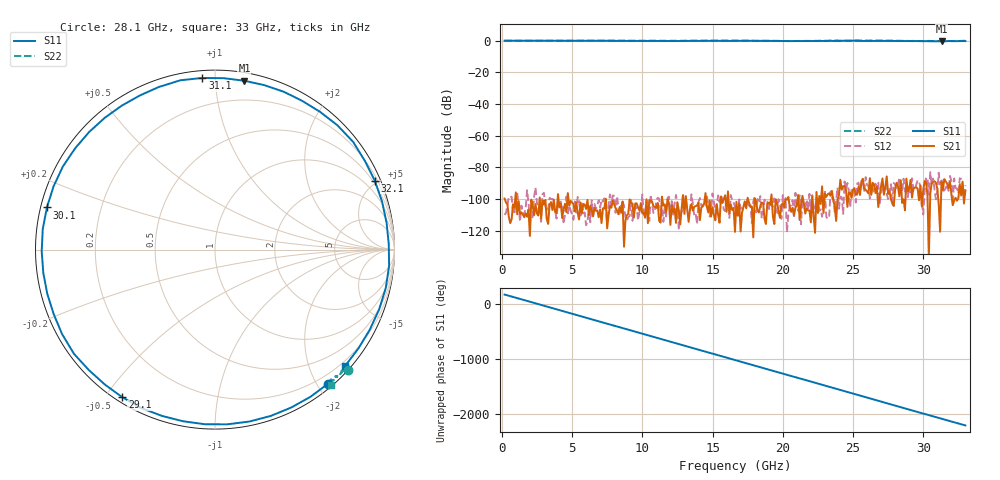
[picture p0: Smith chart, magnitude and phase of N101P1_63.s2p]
# GHZ S RI R 50
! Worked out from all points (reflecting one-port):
!   329 points, 200 MHz to 33 GHz, reference 50 ohm
!   lowest |S11| = -0.4 dB at 31.3 GHz (marker M1), VSWR 43.17, Z = 2.79 + j59.4 ohm
!   phase of S11 starts at 165 deg and turns -2367 deg over the sweep
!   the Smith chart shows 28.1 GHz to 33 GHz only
!   S11 on the Smith chart (normalised r, x): 28.1 GHz: 0.06, -2.15; 29.1 GHz: 0.02, -0.55; 30.1 GHz: 0.02, +0.12; 31.1 GHz: 0.04, +0.93; 32.1 GHz: 0.38, +4.82; 33 GHz: 0.11, -2.62
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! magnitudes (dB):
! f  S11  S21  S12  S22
! 200 MHz  0.0  -99.7  -110.2  0.0
! 5.7 GHz  0.0  -109.1  -101.5  0.0
! 11.2 GHz  -0.2  -113.7  -99.8  -0.1
! 16.6 GHz  -0.1  -120.8  -104.9  0.0
! 22.1 GHz  -0.3  -98.3  -97.7  -0.2
! 22.7 GHz  -0.1  -103.2  -106.6  0.0
! 23 GHz  -0.2  -96.7  -94.7  -0.1
! 23.4 GHz  0.0  -98.0  -95.3  0.0
! 23.6 GHz  -0.2  -101.1  -99.1  0.0
! 23.9 GHz  -0.1  -100.1  -92.9  0.1
! 24 GHz  -0.2  -97.6  -106.2  0.0
! 24.2 GHz  -0.1  -94.2  -99.1  0.0
! 25 GHz  0.1  -94.2  -95.1  0.1
! 25.6 GHz  -0.2  -88.8  -89.7  0.1
! 27.6 GHz  -0.2  -95.1  -94.8  0.0
! 28.1 GHz  -0.2  -89.8  -93.6  0.0
! 29.1 GHz  -0.3  -87.9  -97.1  -0.2
! 30.1 GHz  -0.3  -88.7  -95.2  -0.1
! 31.1 GHz  -0.4  -103.1  -83.5  -0.2
! 31.3 GHz  -0.4  -89.2  -87.1  -0.2
! 32.1 GHz  -0.3  -104.0  -103.3  -0.3
! 33 GHz  -0.2  -94.6  -91.4  -0.1
